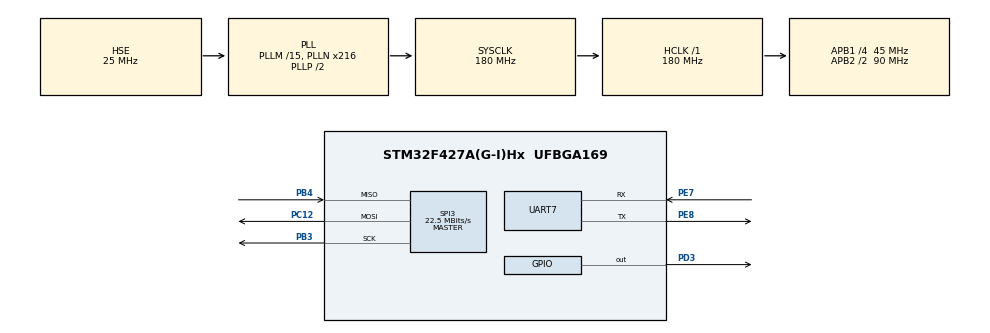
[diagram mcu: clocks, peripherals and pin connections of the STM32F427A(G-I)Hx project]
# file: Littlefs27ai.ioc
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Dma.Request0=SPI3_RX
Dma.Request1=SPI3_TX
Dma.SPI3_RX.0.Direction=DMA_PERIPH_TO_MEMORY
Dma.SPI3_RX.0.FIFOMode=DMA_FIFOMODE_DISABLE
Dma.SPI3_RX.0.Instance=DMA1_Stream0
Dma.SPI3_RX.0.MemDataAlignment=DMA_MDATAALIGN_BYTE
Dma.SPI3_RX.0.MemInc=DMA_MINC_ENABLE
Dma.SPI3_RX.0.Mode=DMA_NORMAL
Dma.SPI3_RX.0.PeriphDataAlignment=DMA_PDATAALIGN_BYTE
Dma.SPI3_RX.0.PeriphInc=DMA_PINC_DISABLE
Dma.SPI3_RX.0.Priority=DMA_PRIORITY_LOW
Dma.SPI3_TX.1.Direction=DMA_MEMORY_TO_PERIPH
Dma.SPI3_TX.1.FIFOMode=DMA_FIFOMODE_DISABLE
Dma.SPI3_TX.1.Instance=DMA1_Stream5
Dma.SPI3_TX.1.MemDataAlignment=DMA_MDATAALIGN_BYTE
Dma.SPI3_TX.1.MemInc=DMA_MINC_ENABLE
Dma.SPI3_TX.1.Mode=DMA_NORMAL
Dma.SPI3_TX.1.PeriphDataAlignment=DMA_PDATAALIGN_BYTE
Dma.SPI3_TX.1.PeriphInc=DMA_PINC_DISABLE
Dma.SPI3_TX.1.Priority=DMA_PRIORITY_LOW
Mcu.Family=STM32F4
Mcu.Name=STM32F427A(G-I)Hx
Mcu.Package=UFBGA169
NVIC.DMA1_Stream0_IRQn=true\:0\:0\:false\:false\:true\:false\:true
NVIC.DMA1_Stream5_IRQn=true\:0\:0\:false\:false\:true\:false\:true
NVIC.PriorityGroup=NVIC_PRIORITYGROUP_4
NVIC.SPI3_IRQn=true\:0\:0\:false\:false\:true\:true\:true
PA13.Mode=Serial_Wire
PA13.Signal=SYS_JTMS-SWDIO
PA14.Mode=Serial_Wire
PA14.Signal=SYS_JTCK-SWCLK
PB3.Mode=Full_Duplex_Master
PB3.Signal=SPI3_SCK
PB4.Mode=Full_Duplex_Master
PB4.Signal=SPI3_MISO
PC12.Mode=Full_Duplex_Master
PC12.Signal=SPI3_MOSI
PD3.Signal=GPIO_Output
PE7.Mode=Asynchronous
PE7.Signal=UART7_RX
PE8.Mode=Asynchronous
PE8.Signal=UART7_TX
PH0/OSC_IN.Mode=HSE-External-Oscillator
PH0/OSC_IN.Signal=RCC_OSC_IN
PH1/OSC_OUT.Mode=HSE-External-Oscillator
PH1/OSC_OUT.Signal=RCC_OSC_OUT
ProjectManager.HeapSize=0x200
ProjectManager.StackSize=0x400
ProjectManager.TargetToolchain=STM32CubeIDE
RCC.48MHZClocksFreq_Value=90000000
RCC.AHBFreq_Value=180000000
RCC.APB1CLKDivider=RCC_HCLK_DIV4
RCC.APB1Freq_Value=45000000
RCC.APB1TimFreq_Value=90000000
RCC.APB2CLKDivider=RCC_HCLK_DIV2
RCC.APB2Freq_Value=90000000
RCC.APB2TimFreq_Value=180000000
RCC.CortexFreq_Value=180000000
RCC.HCLKFreq_Value=180000000
RCC.HSE_VALUE=25000000
RCC.HSI_VALUE=16000000
RCC.LSE_VALUE=32768
RCC.PLLM=15
RCC.PLLN=216
RCC.PLLSourceVirtual=RCC_PLLSOURCE_HSE
RCC.SYSCLKFreq_VALUE=180000000
RCC.SYSCLKSource=RCC_SYSCLKSOURCE_PLLCLK
RCC.VCOOutputFreq_Value=360000000
SPI3.CalculateBaudRate=22.5 MBits/s
SPI3.Direction=SPI_DIRECTION_2LINES
SPI3.Mode=SPI_MODE_MASTER
SPI3.VirtualType=VM_MASTER
UART7.VirtualMode=Asynchronous
board=custom

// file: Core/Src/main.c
/* USER CODE BEGIN Header */
/**
  ******************************************************************************
  * @file           : main.c
  * @brief          : Main program body
  ******************************************************************************
  * @attention
  *
  * <h2><center>&copy; Copyright (c) 2024 STMicroelectronics.
  * All rights reserved.</center></h2>
  *
  * This software component is licensed by ST under BSD 3-Clause license,
  * the "License"; You may not use this file except in compliance with the
  * License. You may obtain a copy of the License at:
  *                        opensource.org/licenses/BSD-3-Clause
  *
  ******************************************************************************
  */
/* USER CODE END Header */
#include "main.h"

/* USER CODE BEGIN Includes */
#include "stdarg.h"
#include "lfs_util.h"
#include "lfs.h"
#include "nor.h"
/* USER CODE END Includes */

/* USER CODE BEGIN PTD */
//#define CDC_USB_DEBUG
#define UART_DEBUG
/* USER CODE END PTD */

/* USER CODE BEGIN PD */
#define sector_size 32
/* USER CODE END PD */

/* USER CODE BEGIN PM */
void myprintf(const char *fmt, ...);
/* USER CODE END PM */

SPI_HandleTypeDef hspi3;
DMA_HandleTypeDef hdma_spi3_rx;
DMA_HandleTypeDef hdma_spi3_tx;

UART_HandleTypeDef huart7;

/* USER CODE BEGIN PV */
//uint8_t tx[]={'S','A','N','G','A','M'};

uint16_t address = 0x00;
uint8_t status_reg=0;
uint8_t READ_FLAG=0;

uint8_t DEBUG_DATA_RX_FLAG = 0;
// variables used by the filesystem
typedef struct{
	uint32_t secCount;
	uint32_t bootCount;
}app_count_t;
	lfs_file_t File;
		char Text[20];
		app_count_t Counter = {0};
		lfs_t Lfs;
		nor_t Nor;

/* USER CODE END PV */

void SystemClock_Config(void);
static void MX_GPIO_Init(void);
static void MX_SPI3_Init(void);
static void MX_DMA_Init(void);
static void MX_UART7_Init(void);

/* USER CODE BEGIN 0 */
volatile uint8_t DmaEnd = 0;

void HAL_SPI_TxCpltCallback(SPI_HandleTypeDef *hspi){
	DmaEnd = 1;
}

void HAL_SPI_RxCpltCallback(SPI_HandleTypeDef *hspi){
	DmaEnd = 1;
}

void nor_delay_us(uint32_t us){
//	if (us >= __HAL_TIM_GET_AUTORELOAD(&htim2)){
//		us = __HAL_TIM_GET_AUTORELOAD(&htim2) - 1;
//	}
//	__HAL_TIM_SET_COUNTER(&htim2, 0);
//	HAL_TIM_Base_Start(&htim2);
//	while (__HAL_TIM_GET_COUNTER(&htim2) < us);
//	HAL_TIM_Base_Stop(&htim2);
	HAL_Delay(1000);
}

void nor_cs_assert(){
	HAL_GPIO_WritePin(GPIOD, GPIO_PIN_3, GPIO_PIN_RESET);
}

void nor_cs_deassert(){
	HAL_GPIO_WritePin(GPIOD, GPIO_PIN_3, GPIO_PIN_SET);
}

void nor_spi_tx(uint8_t *pData, uint32_t Size){
//	HAL_SPI_Transmit(&hspi3, pData, Size, 100);
	DmaEnd = 0;
	HAL_SPI_Transmit(&hspi3, pData, Size, 1000);
//	while (DmaEnd == 0);
}

void nor_spi_rx(uint8_t *pData, uint32_t Size){
//	HAL_SPI_Receive(&hspi3, pData, Size, 100);
	DmaEnd = 0;
	HAL_SPI_Receive(&hspi3, pData, Size, 1000);
//	DmaEnd =0;
//	while (DmaEnd == 0);
}

void __init_nor(){
	Nor.config.CsAssert = nor_cs_assert;
	Nor.config.CsDeassert = nor_cs_deassert;
	Nor.config.DelayUs = nor_delay_us;
	Nor.config.SpiRxFxn = nor_spi_rx;
	Nor.config.SpiTxFxn = nor_spi_tx;

	if (NOR_Init(&Nor) != NOR_OK){ //NOR_Init
		Error_Handler();
	}
}

/** Start LittleFs **/

int _fs_read(const struct lfs_config *c, lfs_block_t block,
            lfs_off_t off, void *buffer, lfs_size_t size){

	if (NOR_ReadSector(&Nor, (uint8_t*)buffer, block, off, size) == NOR_OK){
		return 0;
	}

	return LFS_ERR_IO;
}

int _fs_write(const struct lfs_config *c, lfs_block_t block,
        lfs_off_t off, const void *buffer, lfs_size_t size){

	if (NOR_WriteSector(&Nor, (uint8_t*)buffer, block, off, size) == NOR_OK){
		return 0;
	}

	return LFS_ERR_IO;
}

int _fs_erase(const struct lfs_config *c, lfs_block_t block){
	if (NOR_EraseSector(&Nor, block) == NOR_OK){
		return 0;
	}

	return LFS_ERR_IO;
}

int _fs_sync(const struct lfs_config *c){
	return 0;
}

void __init_littefs(){
	// because of static qualifier, this variable
	// will have a dedicated address
	static struct lfs_config LfsConfig = {0};
	int Error;

	LfsConfig.read_size = 64;
	LfsConfig.prog_size = 64;
	LfsConfig.block_size = Nor.info.u16SectorSize;
	LfsConfig.block_count = Nor.info.u32SectorCount;
	LfsConfig.cache_size = Nor.info.u16PageSize;
	LfsConfig.lookahead_size = 8;//Nor.info.u32SectorCount/8;
	LfsConfig.block_cycles = 15000;

	LfsConfig.read = _fs_read;
	LfsConfig.prog = _fs_write;
	LfsConfig.erase = _fs_erase;
	LfsConfig.sync = _fs_sync;

	Error = lfs_mount(&Lfs, &LfsConfig);
	if (Error != LFS_ERR_OK){
		lfs_format(&Lfs, &LfsConfig);
		Error = lfs_mount(&Lfs, &LfsConfig);
		if (Error != LFS_ERR_OK){
			Error_Handler();
		}
	}
}

void __init_storage(){
	__init_nor();
	__init_littefs();
}
/* USER CODE END 0 */

int main(void)
{

  /* MCU Configuration--------------------------------------------------------*/

  /* Reset of all peripherals, Initializes the Flash interface and the Systick. */
  HAL_Init();

  /* Configure the system clock */
  SystemClock_Config();

  /* Initialize all configured peripherals */
  MX_GPIO_Init();
  MX_SPI3_Init();
  MX_DMA_Init();
  MX_UART7_Init();
  /* USER CODE BEGIN 2 */
//simple
//  //First erase flash memory
//  	Sector_Erase_4B(&hspi3, address, sector_size);
//	//id read
//	Read_ID(&hspi3, &dev_id);
//
//	HAL_Delay(100);

	//status_reg = Status_Reg(&hspi3);
	//  int add = 0;
	//  for(int i=0;i<300;i++){
	//	  Sector_Erase_4B(&hspi3, add, 64);
	//	  add+=65536;
	//  }

	  // myprintf("Starting LittleFS application........\n");
    HAL_Delay(100);

  HAL_UART_Transmit(&huart7,"EPDM is starting *********\n", sizeof("EPDM is starting *********\n"),1000);

  __init_storage();
   lfs_file_open(&Lfs, &File, "count.bin", LFS_O_RDWR | LFS_O_CREAT);
   lfs_file_read(&Lfs, &File, &Counter, sizeof(app_count_t));
   lfs_file_close(&Lfs, &File);

   Counter.bootCount += 1;
  /* USER CODE END 2 */

  /* Infinite loop */
  /* USER CODE BEGIN WHILE */
  while (1)
  { sprintf(Text, "Bt %lu |Ct %lu\n", Counter.bootCount, Counter.secCount);
	  HAL_UART_Transmit(&huart7,Text, sizeof(Text),1000);

	  HAL_UART_Transmit(&huart7,"*******\n", sizeof("*******\n"),1000);

		  lfs_file_open(&Lfs, &File, "count.bin", LFS_O_RDWR | LFS_O_CREAT);
		  lfs_file_write(&Lfs, &File, &Counter, sizeof(app_count_t));
		  lfs_file_close(&Lfs, &File);

//		  while ((HAL_GetTick() - HalTickAux) < 1000);
		  HAL_Delay(1000);

		  Counter.secCount += 1;
    /* USER CODE END WHILE */

  }
}

void SystemClock_Config(void)
{
  RCC_OscInitTypeDef RCC_OscInitStruct = {0};
  RCC_ClkInitTypeDef RCC_ClkInitStruct = {0};

  /** Configure the main internal regulator output voltage
  */
  __HAL_RCC_PWR_CLK_ENABLE();
  __HAL_PWR_VOLTAGESCALING_CONFIG(PWR_REGULATOR_VOLTAGE_SCALE1);
  /** Initializes the RCC Oscillators according to the specified parameters
  * in the RCC_OscInitTypeDef structure.
  */
  RCC_OscInitStruct.OscillatorType = RCC_OSCILLATORTYPE_HSE;
  RCC_OscInitStruct.HSEState = RCC_HSE_ON;
  RCC_OscInitStruct.PLL.PLLState = RCC_PLL_ON;
  RCC_OscInitStruct.PLL.PLLSource = RCC_PLLSOURCE_HSE;
  RCC_OscInitStruct.PLL.PLLM = 15;
  RCC_OscInitStruct.PLL.PLLN = 216;
  RCC_OscInitStruct.PLL.PLLP = RCC_PLLP_DIV2;
  RCC_OscInitStruct.PLL.PLLQ = 4;
  if (HAL_RCC_OscConfig(&RCC_OscInitStruct) != HAL_OK)
  {
    Error_Handler();
  }
  /** Activate the Over-Drive mode
  */
  if (HAL_PWREx_EnableOverDrive() != HAL_OK)
  {
    Error_Handler();
  }
  /** Initializes the CPU, AHB and APB buses clocks
  */
  RCC_ClkInitStruct.ClockType = RCC_CLOCKTYPE_HCLK|RCC_CLOCKTYPE_SYSCLK
                              |RCC_CLOCKTYPE_PCLK1|RCC_CLOCKTYPE_PCLK2;
  RCC_ClkInitStruct.SYSCLKSource = RCC_SYSCLKSOURCE_PLLCLK;
  RCC_ClkInitStruct.AHBCLKDivider = RCC_SYSCLK_DIV1;
  RCC_ClkInitStruct.APB1CLKDivider = RCC_HCLK_DIV4;
  RCC_ClkInitStruct.APB2CLKDivider = RCC_HCLK_DIV2;

  if (HAL_RCC_ClockConfig(&RCC_ClkInitStruct, FLASH_LATENCY_5) != HAL_OK)
  {
    Error_Handler();
  }
}

static void MX_SPI3_Init(void)
{

  /* SPI3 parameter configuration*/
  hspi3.Instance = SPI3;
  hspi3.Init.Mode = SPI_MODE_MASTER;
  hspi3.Init.Direction = SPI_DIRECTION_2LINES;
  hspi3.Init.DataSize = SPI_DATASIZE_8BIT;
  hspi3.Init.CLKPolarity = SPI_POLARITY_LOW;
  hspi3.Init.CLKPhase = SPI_PHASE_1EDGE;
  hspi3.Init.NSS = SPI_NSS_SOFT;
  hspi3.Init.BaudRatePrescaler = SPI_BAUDRATEPRESCALER_4;
  hspi3.Init.FirstBit = SPI_FIRSTBIT_MSB;
  hspi3.Init.TIMode = SPI_TIMODE_DISABLE;
  hspi3.Init.CRCCalculation = SPI_CRCCALCULATION_DISABLE;
  hspi3.Init.CRCPolynomial = 10;
  if (HAL_SPI_Init(&hspi3) != HAL_OK)
  {
    Error_Handler();
  }

}

static void MX_UART7_Init(void)
{

  huart7.Instance = UART7;
  huart7.Init.BaudRate = 115200;
  huart7.Init.WordLength = UART_WORDLENGTH_8B;
  huart7.Init.StopBits = UART_STOPBITS_1;
  huart7.Init.Parity = UART_PARITY_NONE;
  huart7.Init.Mode = UART_MODE_TX_RX;
  huart7.Init.HwFlowCtl = UART_HWCONTROL_NONE;
  huart7.Init.OverSampling = UART_OVERSAMPLING_16;
  if (HAL_UART_Init(&huart7) != HAL_OK)
  {
    Error_Handler();
  }

}

static void MX_DMA_Init(void)
{

  /* DMA controller clock enable */
  __HAL_RCC_DMA1_CLK_ENABLE();

  /* DMA interrupt init */
  /* DMA1_Stream0_IRQn interrupt configuration */
  HAL_NVIC_SetPriority(DMA1_Stream0_IRQn, 0, 0);
  HAL_NVIC_EnableIRQ(DMA1_Stream0_IRQn);
  /* DMA1_Stream5_IRQn interrupt configuration */
  HAL_NVIC_SetPriority(DMA1_Stream5_IRQn, 0, 0);
  HAL_NVIC_EnableIRQ(DMA1_Stream5_IRQn);

}

static void MX_GPIO_Init(void)
{
  GPIO_InitTypeDef GPIO_InitStruct = {0};

  /* GPIO Ports Clock Enable */
  __HAL_RCC_GPIOB_CLK_ENABLE();
  __HAL_RCC_GPIOD_CLK_ENABLE();
  __HAL_RCC_GPIOC_CLK_ENABLE();
  __HAL_RCC_GPIOA_CLK_ENABLE();
  __HAL_RCC_GPIOH_CLK_ENABLE();
  __HAL_RCC_GPIOE_CLK_ENABLE();

  /*Configure GPIO pin Output Level */
  HAL_GPIO_WritePin(GPIOD, GPIO_PIN_3, GPIO_PIN_RESET);

  /*Configure GPIO pin : PD3 */
  GPIO_InitStruct.Pin = GPIO_PIN_3;
  GPIO_InitStruct.Mode = GPIO_MODE_OUTPUT_PP;
  GPIO_InitStruct.Pull = GPIO_NOPULL;
  GPIO_InitStruct.Speed = GPIO_SPEED_FREQ_LOW;
  HAL_GPIO_Init(GPIOD, &GPIO_InitStruct);

}

/* USER CODE BEGIN 4 */
void myprintf(const char *fmt, ...) {
    va_list args;
    va_start(args, fmt);
    char buffer[100];
    vsnprintf(buffer, sizeof(buffer), fmt, args);
    HAL_UART_Transmit(&huart7, (uint8_t*) buffer, strlen(buffer), HAL_MAX_DELAY);
    va_end(args);
}

int bufferSize(char *buffer) {
    int i = 0;
    while (*buffer++ != '\0')
        i++;
    return i;
}
/* USER CODE END 4 */

void Error_Handler(void)
{
  __disable_irq();
  while (1)
  {
  }
}

/************************ (C) COPYRIGHT STMicroelectronics *****END OF FILE****/
